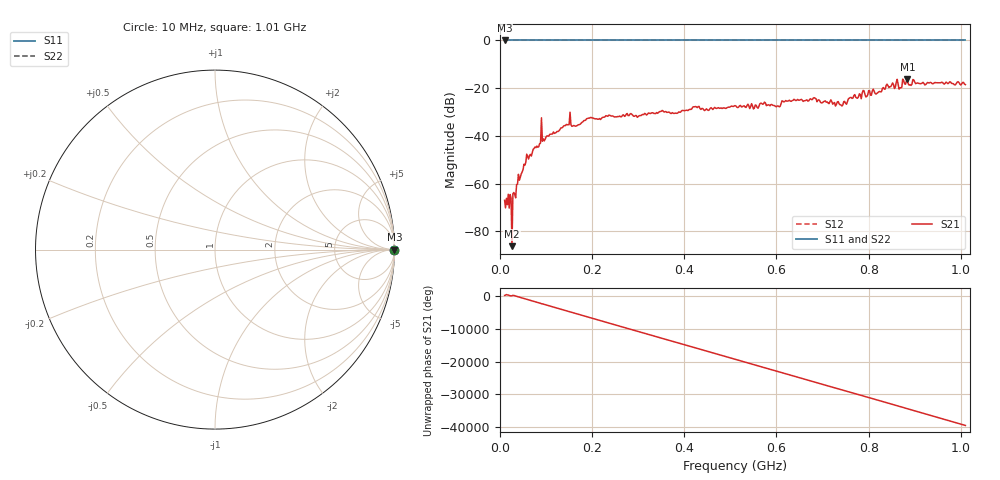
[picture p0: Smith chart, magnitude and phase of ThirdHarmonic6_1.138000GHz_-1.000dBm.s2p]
! 8/16/2025 11:09:20 AM
! C:\ANRITSUVNA\TEMP\TEMP.S2P
! CHANNEL.1
! TR.MEASUREMENT
! RAW.DATA
! RF.CORRECTION.OFF
! AVERAGING.OFF
! IF.BANDWIDTH: 5KHZ
! SWEEPTYPE:  FREQ.SWEEP(Linear)
! Reference Plane Port Info
! PORT:  PORT1  PORT2
! DISTANCE:  0  m  0  m
! TIME:  0  s  0  s
! PHASE.OFFSET:  0  deg.  0  deg.
! LOSS:  0  dB  0  dB
! REF.LOSS:  0  dB  0  dB
! REF.FREQ:  0  Hz  0  Hz
! Power Info
! POWER:  -20  dBm  -20  dBm
! EFF.POWER:  -20  dBm  -20  dBm
! SOURCE.ATTEN:  0  dB  0  dB
! TEST.ATTEN:  0  dB  0  dB
# GHZ S RI R 50.0
! FREQ.GHZ  S11RE  S11IM  S21RE  S21IM  S12RE  S12IM  S22RE  S22IM
!; PortSelection: Port_12
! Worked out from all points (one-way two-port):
!   501 points, 10 MHz to 1.01 GHz, reference 50 ohm
!   highest |S21| = -16.20 dB at 884 MHz (marker M1); lowest = -86.2 dB at 26 MHz (marker M2)
!   lowest |S11| = 0.0 dB at 10 MHz (marker M3)
!   |S11| at or under -10 dB: nowhere
!   |S22| runs from 0.0 to 0.0 dB; largest |S21 - S12| = 1.1
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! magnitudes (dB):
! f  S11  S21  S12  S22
! 10 MHz  0.0  -67.0  0.0  0.0
! 26 MHz  0.0  -86.2  0.0  0.0
! 30 MHz  0.0  -63.7  0.0  0.0
! 32 MHz  0.0  -64.5  0.0  0.0
! 56 MHz  0.0  -51.1  0.0  0.0
! 84 MHz  0.0  -44.6  0.0  0.0
! 90 MHz  0.0  -32.4  0.0  0.0
! 96 MHz  0.0  -42.1  0.0  0.0
! 148 MHz  0.0  -35.3  0.0  0.0
! 160 MHz  0.0  -35.7  0.0  0.0
! 178 MHz  0.0  -34.3  0.0  0.0
! 194 MHz  0.0  -32.6  0.0  0.0
! 344 MHz  0.0  -30.2  0.0  0.0
! 510 MHz  0.0  -27.3  0.0  0.0
! 604 MHz  0.0  -27.5  0.0  0.0
! 616 MHz  0.0  -25.8  0.0  0.0
! 678 MHz  0.0  -24.8  0.0  0.0
! 740 MHz  0.0  -27.0  0.0  0.0
! 766 MHz  0.0  -24.1  0.0  0.0
! 844 MHz  0.0  -19.7  0.0  0.0
! 884 MHz  0.0  -16.2  0.0  0.0
! 1.01 GHz  0.0  -18.5  0.0  0.0
